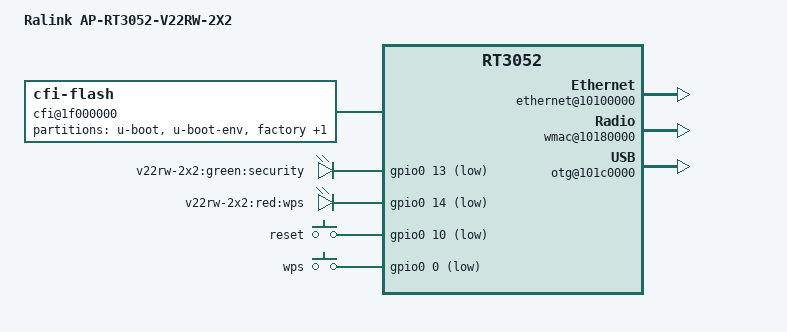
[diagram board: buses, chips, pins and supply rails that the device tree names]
/dts-v1/;

/include/ "rt3050.dtsi"

/ {
	compatible = "V22RW-2X2", "ralink,rt3052-soc";
	model = "Ralink AP-RT3052-V22RW-2X2";

	palmbus@10000000 {
		sysc@0 {
			ralink,pinmux = "i2c", "spi", "uartlite", "jtag", "mdio", "sdram", "rgmii";
			ralink,uartmux = "gpio";
			ralink,wdtmux = <1>;
		};

		gpio0: gpio@600 {
			status = "okay";
		};
	};

	cfi@1f000000 {
		compatible = "cfi-flash";
		reg = <0x1f000000 0x800000>;

		bank-width = <2>;
		device-width = <2>;
		#address-cells = <1>;
		#size-cells = <1>;

		partition@0 {
			label = "u-boot";
			reg = <0x0 0x30000>;
			read-only;
		};

		partition@30000 {
			label = "u-boot-env";
			reg = <0x30000 0x10000>;
			read-only;
		};

		factory: partition@40000 {
			label = "factory";
			reg = <0x40000 0x10000>;
			read-only;
		};

		partition@50000 {
			label = "firmware";
			reg = <0x50000 0x3b0000>;
		};
	};

	ethernet@10100000 {
		status = "okay";
	};

	esw@10110000 {
		status = "okay";
		ralink,portmap = <0x2f>;
	};

	gpio-leds {
		compatible = "gpio-leds";
		security {
			label = "v22rw-2x2:green:security";
			gpios = <&gpio0 13 1>;
		};
		wps {
			label = "v22rw-2x2:red:wps";
			gpios = <&gpio0 14 1>;
		};
	};

	gpio-keys-polled {
		compatible = "gpio-keys-polled";
		#address-cells = <1>;
		#size-cells = <0>;
		poll-interval = <20>;
		reset {
			label = "reset";
			gpios = <&gpio0 10 1>;
			linux,code = <0x198>;
		};
		wps {
			label = "wps";
			gpios = <&gpio0 0 1>;
			linux,code = <0x211>;
		};
	};

	wmac@10180000 {
		status = "okay";
	};

	otg@101c0000 {
		status = "okay";
	};
};
